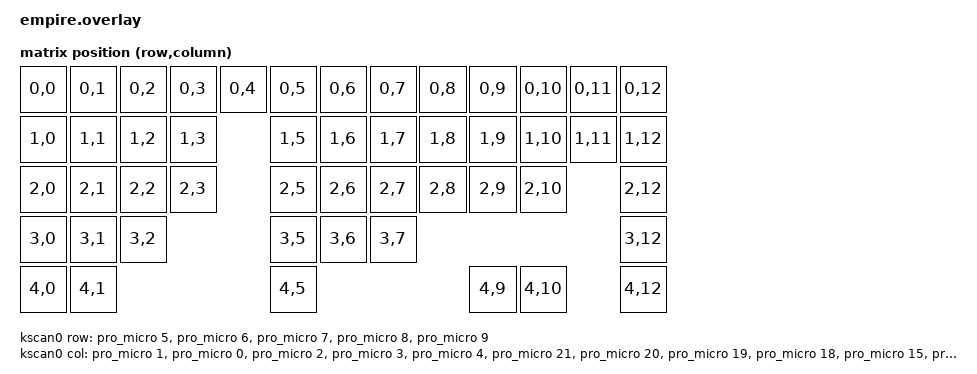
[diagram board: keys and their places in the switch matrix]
#include <dt-bindings/zmk/matrix_transform.h>
#include <dt-bindings/led/led.h>
#include "empire-layouts.dtsi"

/ {
    kscan0: kscan0 {
        compatible = "zmk,kscan-gpio-matrix";
        diode-direction = "col2row";
        wakeup-source;	
	
        col-gpios
            = <&pro_micro 1 GPIO_ACTIVE_HIGH>
            , <&pro_micro 0 GPIO_ACTIVE_HIGH>
            , <&pro_micro 2 GPIO_ACTIVE_HIGH>
            , <&pro_micro 3 GPIO_ACTIVE_HIGH>
            , <&pro_micro 4 GPIO_ACTIVE_HIGH>
            , <&pro_micro 21 GPIO_ACTIVE_HIGH>
            , <&pro_micro 20 GPIO_ACTIVE_HIGH>
            , <&pro_micro 19 GPIO_ACTIVE_HIGH>
            , <&pro_micro 18 GPIO_ACTIVE_HIGH>
            , <&pro_micro 15 GPIO_ACTIVE_HIGH>
            , <&pro_micro 14 GPIO_ACTIVE_HIGH>
            , <&pro_micro 16 GPIO_ACTIVE_HIGH>
            , <&pro_micro 10 GPIO_ACTIVE_HIGH>
            ;
    
        row-gpios
            = <&pro_micro 5 (GPIO_ACTIVE_HIGH | GPIO_PULL_DOWN)>
            , <&pro_micro 6 (GPIO_ACTIVE_HIGH | GPIO_PULL_DOWN)>
            , <&pro_micro 7 (GPIO_ACTIVE_HIGH | GPIO_PULL_DOWN)>
            , <&pro_micro 8 (GPIO_ACTIVE_HIGH | GPIO_PULL_DOWN)>
            , <&pro_micro 9 (GPIO_ACTIVE_HIGH | GPIO_PULL_DOWN)>
            ;
    };

    default_transform: keymap_transform0 {
        compatible = "zmk,matrix-transform";
        columns = <13>;
        rows = <5>;
        map = <
            RC(0,0) RC(0,1) RC(0,2) RC(0,3) RC(0,4) RC(0,5) RC(0,6) RC(0,7) RC(0,8) RC(0,9) RC(0,10) RC(0,11) RC(0,12)
            RC(1,0) RC(1,1) RC(1,2) RC(1,3)         RC(1,5) RC(1,6) RC(1,7) RC(1,8) RC(1,9) RC(1,10) RC(1,11) RC(1,12)
            RC(2,0) RC(2,1) RC(2,2) RC(2,3)         RC(2,5) RC(2,6) RC(2,7) RC(2,8) RC(2,9) RC(2,10)          RC(2,12)
            RC(3,0) RC(3,1) RC(3,2)                 RC(3,5) RC(3,6) RC(3,7)                                   RC(3,12)
            RC(4,0) RC(4,1)                         RC(4,5)                         RC(4,9) RC(4,10)          RC(4,12)
        >;
    };

    chosen {
		zmk,kscan = &kscan0;
        zmk,physical-layout = &physical_layout0;
        zmk,underglow = &led_strip;
    };
};

&physical_layout0 {
    transform = <&default_transform>; // Label of the matrix transform this layout uses
};

&pinctrl {
//     /*Underglow (WS2812 LEDs)*/
//     spi3_default: spi1_default {
//         group1 {
//             psels = <NRF_PSEL(SPIM_MOSI, 1, 2)>;
//         };
//     };

//     spi3_sleep: spi1_sleep {
//         group1 {
//             psels = <NRF_PSEL(SPIM_MOSI, 1, 2)>;
//             low-power-enable;
//         };

//     };
// };
    /*Per-Key LEDs (SK6812 MINI-Es)*/
    spi3_default: spi3_default {
        group1 {
            psels = <NRF_PSEL(SPIM_MOSI, 1, 1)>;
        };
        group2 {
            psels = <NRF_PSEL(SPIM_MOSI, 1, 2)>;
        };
    };

    spi3_sleep: spi3_sleep {
        group1 {
            psels = <NRF_PSEL(SPIM_MOSI, 1, 1)>;
            low-power-enable;
        };
        group2 {
            psels = <NRF_PSEL(SPIM_MOSI, 1, 2)>;
            low-power-enable;
        };
    };
};

// &spi1 {
//     compatible = "nordic,nrf-spim";
//     status = "okay";

//     pinctrl-0 = <&spi1_default>;
//     pinctrl-1 = <&spi1_sleep>;
//     pinctrl-names = "default", "sleep";

//     led_strip: ws2812@0 {
//         compatible = "worldsemi,ws2812-spi";

//         /* SPI */
//         reg = <0>; /* ignored, but necessary for SPI bindings */
//         spi-max-frequency = <4000000>;

//         /* WS2812 */
//         chain-length = <8>; /* number of LEDs */
//         spi-one-frame = <0x70>;
//         spi-zero-frame = <0x40>;
//         color-mapping = <LED_COLOR_ID_GREEN
//                          LED_COLOR_ID_RED
//                          LED_COLOR_ID_BLUE>;
//     };

&spi3 {
    compatible = "nordic,nrf-spim";
    status = "okay";

    pinctrl-0 = <&spi3_default>;
    pinctrl-1 = <&spi3_sleep>;
    pinctrl-names = "default", "sleep";

    led_strip: ws2812@0 {
        compatible = "worldsemi,ws2812-spi";

        /* SPI */
        reg = <0>; /* ignored, but necessary for SPI bindings */
        spi-max-frequency = <4000000>;

        /* WS2812 */
        chain-length = <49>; /* number of LEDs */
        spi-one-frame = <0x70>;
        spi-zero-frame = <0x40>;
        color-mapping = <LED_COLOR_ID_GREEN
                         LED_COLOR_ID_RED
                         LED_COLOR_ID_BLUE>;
    };
};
